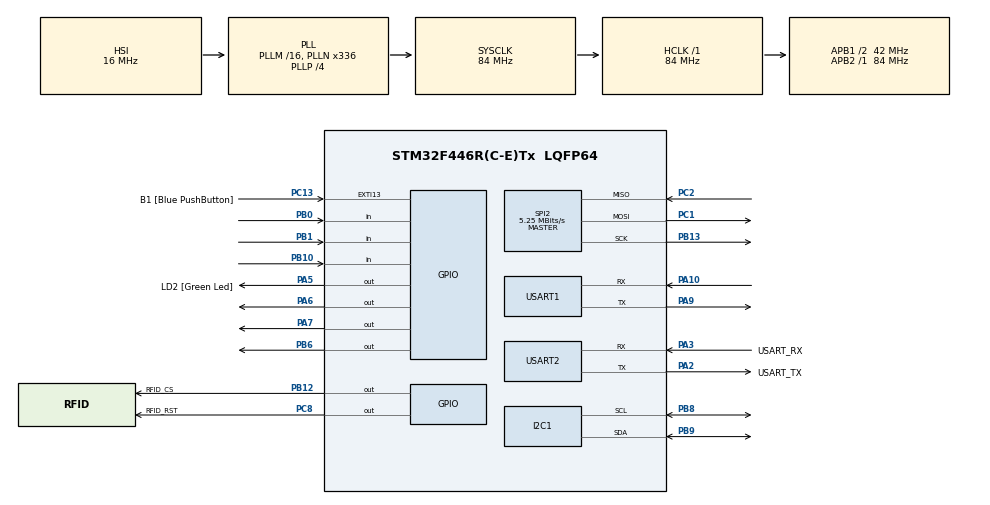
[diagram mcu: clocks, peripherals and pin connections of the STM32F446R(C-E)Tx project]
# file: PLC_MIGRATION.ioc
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IWDG.Prescaler=IWDG_PRESCALER_64
IWDG.Reload=2000
Mcu.Family=STM32F4
Mcu.Name=STM32F446R(C-E)Tx
Mcu.Package=LQFP64
NVIC.PriorityGroup=NVIC_PRIORITYGROUP_0
NVIC.USART1_IRQn=true\:0\:0\:false\:false\:true\:true\:true\:true
PA10.Mode=Asynchronous
PA10.Signal=USART1_RX
PA13.GPIO_Label=TMS
PA13.Mode=Serial_Wire
PA13.Signal=SYS_JTMS-SWDIO
PA14.GPIO_Label=TCK
PA14.Mode=Serial_Wire
PA14.Signal=SYS_JTCK-SWCLK
PA2.GPIO_Label=USART_TX
PA2.Mode=Asynchronous
PA2.Signal=USART2_TX
PA3.GPIO_Label=USART_RX
PA3.Mode=Asynchronous
PA3.Signal=USART2_RX
PA5.GPIO_Label=LD2 [Green Led]
PA5.Signal=GPIO_Output
PA6.Signal=GPIO_Output
PA7.Signal=GPIO_Output
PA9.Mode=Asynchronous
PA9.Signal=USART1_TX
PB0.Signal=GPIO_Input
PB1.Signal=GPIO_Input
PB10.Signal=GPIO_Input
PB12.GPIO_Label=RFID_CS
PB12.Signal=GPIO_Output
PB13.Mode=Full_Duplex_Master
PB13.Signal=SPI2_SCK
PB3.GPIO_Label=SWO
PB3.Signal=SYS_JTDO-SWO
PB6.Signal=GPIO_Output
PB8.Mode=I2C
PB8.Signal=I2C1_SCL
PB9.Mode=I2C
PB9.Signal=I2C1_SDA
PC1.Mode=Full_Duplex_Master
PC1.Signal=SPI2_MOSI
PC13.GPIO_Label=B1 [Blue PushButton]
PC13.GPIO_ModeDefaultEXTI=GPIO_MODE_IT_FALLING
PC13.Signal=GPXTI13
PC14-OSC32_IN.Mode=LSE-External-Oscillator
PC14-OSC32_IN.Signal=RCC_OSC32_IN
PC15-OSC32_OUT.Mode=LSE-External-Oscillator
PC15-OSC32_OUT.Signal=RCC_OSC32_OUT
PC2.Mode=Full_Duplex_Master
PC2.Signal=SPI2_MISO
PC8.GPIO_Label=RFID_RST
PC8.Signal=GPIO_Output
PH0-OSC_IN.Mode=HSE-External-Oscillator
PH0-OSC_IN.Signal=RCC_OSC_IN
PH1-OSC_OUT.Mode=HSE-External-Oscillator
PH1-OSC_OUT.Signal=RCC_OSC_OUT
ProjectManager.HeapSize=0x200
ProjectManager.StackSize=0x400
ProjectManager.TargetToolchain=STM32CubeIDE
RCC.48MHZClocksFreq_Value=84000000
RCC.AHBFreq_Value=84000000
RCC.APB1CLKDivider=RCC_HCLK_DIV2
RCC.APB1Freq_Value=42000000
RCC.APB1TimFreq_Value=84000000
RCC.APB2Freq_Value=84000000
RCC.APB2TimFreq_Value=84000000
RCC.CortexFreq_Value=84000000
RCC.FLatency-AdvancedSettings=FLASH_LATENCY_2
RCC.HCLKFreq_Value=84000000
RCC.HSE_VALUE=8000000
RCC.HSI_VALUE=16000000
RCC.PLLN=336
RCC.PLLP=RCC_PLLP_DIV4
RCC.SYSCLKFreq_VALUE=84000000
RCC.SYSCLKSource=RCC_SYSCLKSOURCE_PLLCLK
RCC.USBFreq_Value=168000000
RCC.VCOOutputFreq_Value=336000000
SPI2.BaudRatePrescaler=SPI_BAUDRATEPRESCALER_8
SPI2.CalculateBaudRate=5.25 MBits/s
SPI2.Direction=SPI_DIRECTION_2LINES
SPI2.Mode=SPI_MODE_MASTER
SPI2.VirtualType=VM_MASTER
USART1.VirtualMode=VM_ASYNC
USART2.VirtualMode=VM_ASYNC
VP_IWDG_VS_IWDG.Mode=IWDG_Activate
board=NUCLEO-F446RE

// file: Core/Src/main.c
/* USER CODE BEGIN Header */
/**
  ******************************************************************************
  * @file           : main.c
  * @brief          : Main program body
  ******************************************************************************
  * @attention
  *
  * Copyright (c) 2026 STMicroelectronics.
  * All rights reserved.
  *
  * This software is licensed under terms that can be found in the LICENSE file in
  * the root directory of this software component.
  * If no LICENSE file comes with this software, it is provided AS-IS.
  *
  ******************************************************************************
  */
/* USER CODE END Header */
#include "main.h"
#include "i2c.h"
#include "iwdg.h"
#include "spi.h"
#include "usart.h"
#include "gpio.h"

/* USER CODE BEGIN Includes */
#include <stdbool.h>
#include "usart.h"
#include "gpio.h"
#include "lcd.h"
#include "supervisor_comms.h"
#include "inputs.h"
#include "mfrc522.h"
#include "logger.h"
#include "outputs.h"
#include "safety.h"
#include "sequence_engine.h"
#include "sequence_storage.h"
#include "state_machine.h"
/* USER CODE END Includes */

void SystemClock_Config(void);

int main(void)
{

  /* MCU Configuration--------------------------------------------------------*/

  /* Reset of all peripherals, Initializes the Flash interface and the Systick. */
  HAL_Init();

  /* Configure the system clock */
  SystemClock_Config();

  /* Initialize all configured peripherals */
  MX_GPIO_Init();
  MX_USART2_UART_Init();
  MX_IWDG_Init();
  MX_USART1_UART_Init();
  MX_SPI2_Init();
  MX_I2C1_Init();
  /* USER CODE BEGIN 2 */

  // Initialize modules
  MFRC522_Init();
  LCD_Init();
  Inputs_Init();
  Outputs_Init();
  Safety_Init();
  Logger_Init();

  // Detect and log watchdog reset — must happen right after Logger_Init so the event is captured
  if (__HAL_RCC_GET_FLAG(RCC_FLAG_IWDGRST)) {
      Logger_Log(LOG_TIER_A1, EVENT_WATCHDOG_RESET, 0);
  }
  __HAL_RCC_CLEAR_RESET_FLAGS();  // clear all reset source flags for next boot

  StateMachine_Init();
  SequenceEngine_Init();
  SequenceStorage_Load();  // Restore last sequence from flash
  SupervisorComms_Init();

  /* USER CODE END 2 */

  /* Infinite loop */
  /* USER CODE BEGIN WHILE */
  while (1)
  {

    // PLC-style scan cycle
	HAL_IWDG_Refresh(&hiwdg);  // Prevent reset; call early each scan

    Inputs_Update();  // Sample inputs

    bool safety_ok = Safety_IsOK();  // Evaluate safety

    StateMachine_Update(safety_ok);  // Update state machine

    SequenceEngine_Update();  // Update sequence if running

    Outputs_Apply(safety_ok);  // Apply gated outputs
    Outputs_UpdateLEDs(system_state.state);  // Update HMI panel LEDs

    SupervisorComms_Task();  // ESP32 comms: heartbeat, log upload, sequence receive

    HAL_Delay(10);  // Minimal delay for scan rate; adjust for determinism

    /* USER CODE END WHILE */

  }
}

void SystemClock_Config(void)
{
  RCC_OscInitTypeDef RCC_OscInitStruct = {0};
  RCC_ClkInitTypeDef RCC_ClkInitStruct = {0};

  /** Configure the main internal regulator output voltage
  */
  __HAL_RCC_PWR_CLK_ENABLE();
  __HAL_PWR_VOLTAGESCALING_CONFIG(PWR_REGULATOR_VOLTAGE_SCALE3);

  /** Initializes the RCC Oscillators according to the specified parameters
  * in the RCC_OscInitTypeDef structure.
  */
  RCC_OscInitStruct.OscillatorType = RCC_OSCILLATORTYPE_HSI|RCC_OSCILLATORTYPE_LSI;
  RCC_OscInitStruct.HSIState = RCC_HSI_ON;
  RCC_OscInitStruct.HSICalibrationValue = RCC_HSICALIBRATION_DEFAULT;
  RCC_OscInitStruct.LSIState = RCC_LSI_ON;
  RCC_OscInitStruct.PLL.PLLState = RCC_PLL_ON;
  RCC_OscInitStruct.PLL.PLLSource = RCC_PLLSOURCE_HSI;
  RCC_OscInitStruct.PLL.PLLM = 16;
  RCC_OscInitStruct.PLL.PLLN = 336;
  RCC_OscInitStruct.PLL.PLLP = RCC_PLLP_DIV4;
  RCC_OscInitStruct.PLL.PLLQ = 2;
  RCC_OscInitStruct.PLL.PLLR = 2;
  if (HAL_RCC_OscConfig(&RCC_OscInitStruct) != HAL_OK)
  {
    Error_Handler();
  }

  /** Initializes the CPU, AHB and APB buses clocks
  */
  RCC_ClkInitStruct.ClockType = RCC_CLOCKTYPE_HCLK|RCC_CLOCKTYPE_SYSCLK
                              |RCC_CLOCKTYPE_PCLK1|RCC_CLOCKTYPE_PCLK2;
  RCC_ClkInitStruct.SYSCLKSource = RCC_SYSCLKSOURCE_PLLCLK;
  RCC_ClkInitStruct.AHBCLKDivider = RCC_SYSCLK_DIV1;
  RCC_ClkInitStruct.APB1CLKDivider = RCC_HCLK_DIV2;
  RCC_ClkInitStruct.APB2CLKDivider = RCC_HCLK_DIV1;

  if (HAL_RCC_ClockConfig(&RCC_ClkInitStruct, FLASH_LATENCY_2) != HAL_OK)
  {
    Error_Handler();
  }
}

/* USER CODE BEGIN 4 */

int _write(int file, char *ptr, int len)
{
    HAL_UART_Transmit(&huart2, (uint8_t*)ptr, len, HAL_MAX_DELAY);
    return len;
}

/* USER CODE END 4 */

void Error_Handler(void)
{
  __disable_irq();
  while (1)
  {
  }
}
